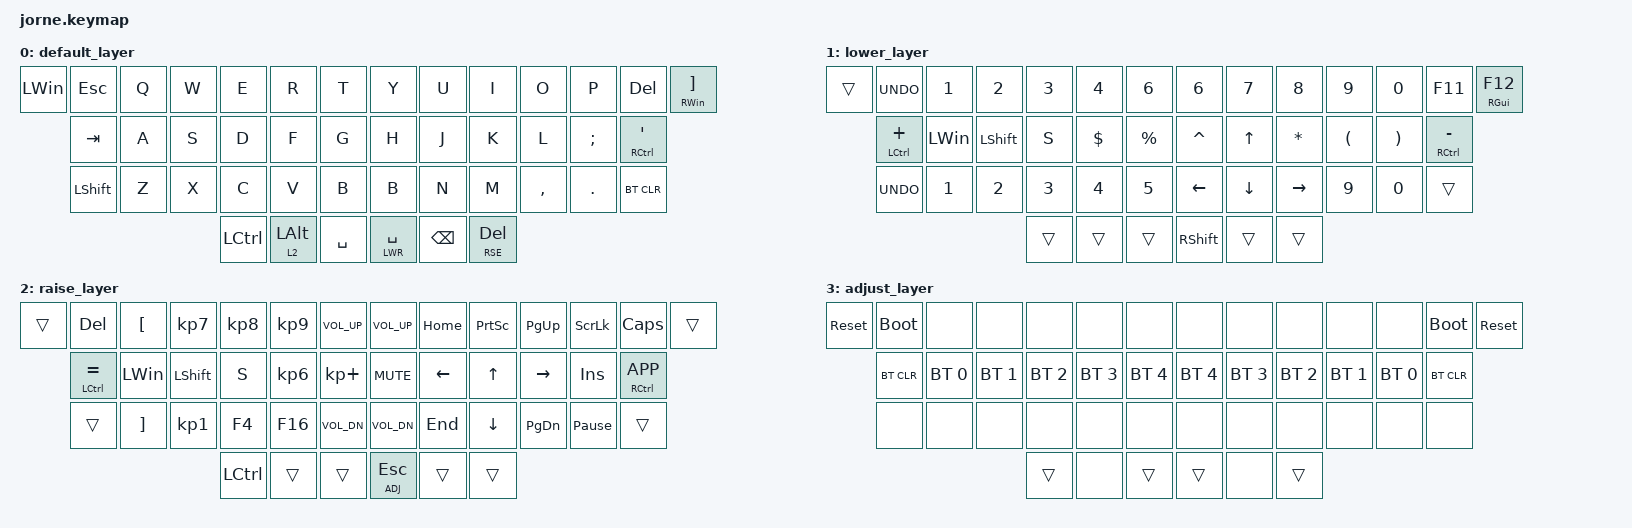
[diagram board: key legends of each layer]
/*
 * Copyright (c) 2020 The ZMK Contributors
 *
 * SPDX-License-Identifier: MIT
 */

#include <behaviors.dtsi>
#include <dt-bindings/zmk/bt.h>
#include <dt-bindings/zmk/keys.h>

#define DEF 0
#define LWR 1
#define RSE 2
#define ADJ 3

/ {
    macros {
        new_macro: new_macro {
            compatible = "zmk,behavior-macro";
            #binding-cells = <0>;
            bindings = <&kp LEFT_CONTROL &kp Z>, <&macro_press>;

            label = "NEW_MACRO";
        };
    };

    keymap {
        compatible = "zmk,keymap";

        default_layer {
            // -----------------------------------------------------------------------------------------
            // |  GUI |   ~  |  Q  |  W  |  E  |  R  |  T  |   |  Y  |  U   |  I  |  O  |  P  |  [   | GUI/] |
            //        | CTRL |  A  |  S  |  D  |  F  |  G  |   |  H  |  J   |  K  |  L  |  ;  |CTRL/'|
            //        | LALT |  Z  |  X  |  C  |  V  |  B  |   |  N  |  M   |  ,  |  .  |  /  | RALT |
            //                           | RSE | SPC | LWR |   | LWR | BKSP | RSE |

            bindings = <
&kp LWIN  &kp ESC         &kp Q  &kp W  &kp E             &kp R           &kp T        &kp Y          &kp U          &kp I        &kp O      &kp P       &kp DEL        &mt RWIN RBKT
          &kp TAB         &kp A  &kp S  &kp D             &kp F           &kp G        &kp H          &kp J          &kp K        &kp L      &kp SEMI    &mt RCTRL SQT
          &kp LEFT_SHIFT  &kp Z  &kp X  &kp C             &kp V           &kp B        &kp B          &kp N          &kp M        &kp COMMA  &kp PERIOD  &bt BT_CLR
                                        &kp LEFT_CONTROL  &lt 2 LEFT_ALT  &kp SPACE    &lt LWR SPACE  &kp BACKSPACE  &lt RSE DEL
            >;
        };

        lower_layer {
            // -----------------------------------------------------------------------------------------
            // |     |  _  |  F1 |  F2 |  F3 |  F4 |  F5 |   |  F6 |  F7 |  F8 |  F9 | F10 | F11 | F12 |
            //       |  +  |  !  |  @  |  #  |  $  |  %  |   |  ^  |  &  |  *  |  (  |  )  |  -  |
            //       |  =  |  1  |  2  |  3  |  4  |  5  |   |  6  |  7  |  8  |  9  |  0  |     |
            //                    | GUI |     | SPC |   | ENT |     | ALT |

            bindings = <
&trans  &kp K_UNDO      &kp N1        &kp N2          &kp N3  &kp NUMBER_4  &kp NUMBER_6    &kp N6           &kp N7          &kp N8           &kp N9    &kp N0    &kp F11          &mt RGUI F12
        &mt LCTRL PLUS  &kp LEFT_WIN  &kp LEFT_SHIFT  &kp S   &kp DLLR      &kp PRCNT       &kp CARET        &kp UP_ARROW    &kp STAR         &kp LPAR  &kp RPAR  &mt RCTRL MINUS
        &kp K_UNDO      &kp N1        &kp N2          &kp N3  &kp N4        &kp N5          &kp LEFT_ARROW   &kp DOWN_ARROW  &kp RIGHT_ARROW  &kp N9    &kp N0    &trans
                                                      &trans  &trans        &trans          &kp RIGHT_SHIFT  &trans          &trans
            >;
        };

        raise_layer {
            // -----------------------------------------------------------------------------------------
            // |     | NMLK |  /  |  7  |  8  |  9  |  -  |   | VOLU| HOME| PRSC| PGUP| SCLK| CLCK|     |
            //       | CTRL |  *  |  4  |  5  |  6  |  +  |   | MUT | LEFT|  UP | RGHT| INS | APP |
            //       |      |  0  |  1  |  2  |  3  |  .  |   | VOLD| END | DOWN| PGDN| PAUS|     |
            //                          |     |     | ADJ |   | ADJ |     |     |

            bindings = <
&trans  &kp DELETE       &kp LEFT_BRACKET   &kp KP_N7       &kp KP_N8         &kp KP_N9  &kp C_VOLUME_UP    &kp C_VOL_UP  &kp HOME  &kp PSCRN  &kp PG_UP  &kp SLCK         &kp CAPS         &trans
        &mt LCTRL EQUAL  &kp LEFT_WIN       &kp LEFT_SHIFT  &kp S             &kp KP_N6  &kp KP_PLUS        &kp C_MUTE    &kp LEFT  &kp UP     &kp RIGHT  &kp INS          &mt RCTRL K_APP
        &trans           &kp RIGHT_BRACKET  &kp KP_N1       &kp F4            &kp F16    &kp C_VOL_DN       &kp C_VOL_DN  &kp END   &kp DOWN   &kp PG_DN  &kp PAUSE_BREAK  &trans
                                                            &kp LEFT_CONTROL  &trans     &trans             &lt ADJ ESC   &trans    &trans
            >;
        };

        adjust_layer {
            // -----------------------------------------------------------------------------------------
            // | RST | BLDR |     |     |     |     |     |   |     |     |     |     |     | BLDR | RST |
            //       | BTCLR| BT0 | BT1 | BT2 | BT3 | BT4 |   | BT4 | BT3 | BT2 | BT1 | BT0 | BTCLR|
            //       |      |     |     |     |     |     |   |     |     |     |     |     |      |
            //                          |     |     |     |   |     |     |     |

            bindings = <
&sys_reset  &bootloader  &none         &none         &none         &none         &none           &none         &none         &none         &none         &none         &bootloader  &sys_reset
            &bt BT_CLR   &bt BT_SEL 0  &bt BT_SEL 1  &bt BT_SEL 2  &bt BT_SEL 3  &bt BT_SEL 4    &bt BT_SEL 4  &bt BT_SEL 3  &bt BT_SEL 2  &bt BT_SEL 1  &bt BT_SEL 0  &bt BT_CLR
            &none        &none         &none         &none         &none         &none           &none         &none         &none         &none         &none         &none
                                                     &trans        &none         &trans          &trans        &none         &trans
            >;
        };
    };
};
